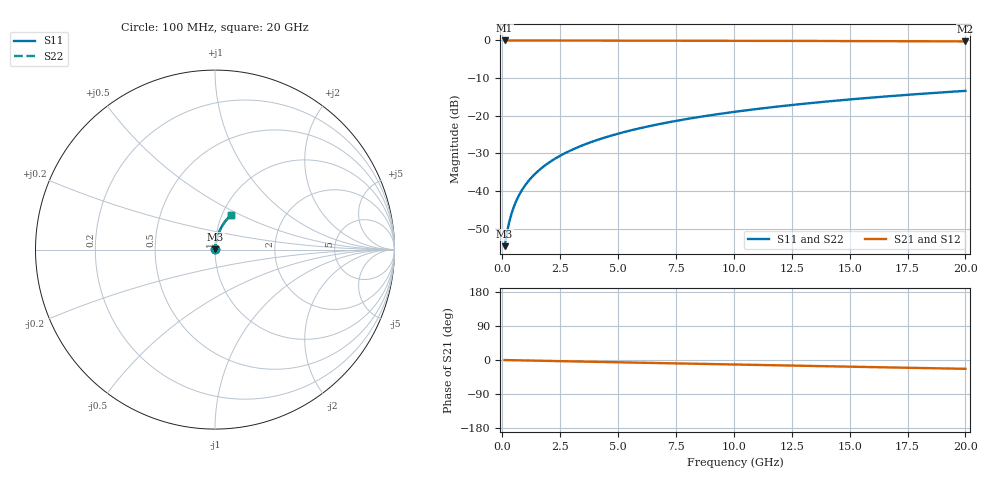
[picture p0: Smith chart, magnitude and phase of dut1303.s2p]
! Touchstone file exported from HFSS 2026.1.0
!  File:  C:/ffzhzh/LocalFiles/Ansys_Project_Files/temp_train_TMRDL_1303_1783164731_43440.aedt
!  Generated:  07:33:22 PM Jul  4, 2026
!  Design:  TMRDL
!  Project:  temp_train_TMRDL_1303_1783164731_43440
! Variables:
!  h_bsmrdl = 2um
!  h_ox = 20um
!  h_rdl = 5um
!  h_sub = 80um
!  h_tmrdl = 4.46um
!  h_tsv = 80um
!  h_via = 3um
!  l_bsmrdl = 300um
!  l_sub = 721.75um
!  l_tmrdl = 321.75um
!  m_sub = 200um
!  pitch = 45.76um
!  r_tsv = 6um
!  s_tmrdl = 10um
!  w_bsmrdl = 18um
!  w_sub = 500um
!  w_tmrdl = 22.1um
!  x_tsv_center1 = 332.8um
!  x_tsv_center2 = 650.8um
!  x_tsv_center3 = 994.65um
!  x_tsv_center4 = 1312.65um
!  x_tsv_center5 = 1656.5um
!  x_tsv_center6 = 1974.5um
# GHz S MA R 50.000000
! Terminal data exported
! Port[1] = TM_RDL1_1_T1
! Port[2] = TM_RDL1_1_T2
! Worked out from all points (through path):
!   200 points, 100 MHz to 20 GHz, reference 50 ohm
!   highest |S21| = -0.01 dB at 100 MHz (marker M1); lowest = -0.3 dB at 20 GHz (marker M2)
!   group delay of S21, straight-line fit = 3.23 ps
!   lowest |S11| = -54.6 dB at 100 MHz (marker M3), VSWR 1.00, Z = 50.1 + j0.129 ohm
!   |S11| at or under -10 dB: start of sweep to end of sweep
!   |S22| runs from -54.6 to -13.4 dB; largest |S21 - S12| = 3.6e-15
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0.1  0.001857 44.0  0.9987 -0.1  0.9987 -0.1  0.001857 44.0
! Gamma 0 0 0 0
! Port Impedance 50 0 50 0
0.2  0.002799 61.2  0.9986 -0.3  0.9986 -0.3  0.0028 61.1
0.3  0.003891 69.3  0.9985 -0.4  0.9985 -0.4  0.003891 69.2
0.4  0.005035 73.7  0.9984 -0.5  0.9984 -0.5  0.005033 73.6
0.5  0.006199 76.4  0.9984 -0.6  0.9984 -0.6  0.006196 76.3
0.6  0.007372 78.1  0.9984 -0.7  0.9984 -0.7  0.007369 78.1
0.8  0.009726 80.2  0.9983 -1.0  0.9983 -1.0  0.009722 80.2
1.1  0.01325 81.7  0.9982 -1.3  0.9982 -1.3  0.01325 81.7
1.3  0.01559 82.3  0.9981 -1.6  0.9981 -1.6  0.01559 82.3
1.5  0.01792 82.6  0.998 -1.8  0.998 -1.8  0.01792 82.6
1.8  0.0214 82.8  0.9979 -2.2  0.9979 -2.2  0.0214 82.8
2.1  0.02487 82.9  0.9977 -2.6  0.9977 -2.6  0.02487 82.9
2.7  0.03177 82.7  0.9973 -3.3  0.9973 -3.3  0.03177 82.7
3.5  0.0409 82.2  0.9967 -4.2  0.9967 -4.2  0.0409 82.2
4.2  0.04883 81.6  0.996 -5.1  0.996 -5.1  0.04883 81.6
5  0.05781 80.9  0.9952 -6.0  0.9952 -6.0  0.05781 80.9
6.8  0.07776 79.1  0.9932 -8.1  0.9932 -8.1  0.07776 79.1
8.3  0.09412 77.5  0.9913 -9.9  0.9913 -9.9  0.09412 77.5
10.1  0.1135 75.6  0.9888 -12.0  0.9888 -12.0  0.1135 75.6
13.4  0.1481 72.1  0.9835 -15.8  0.9835 -15.8  0.1481 72.1
16.7  0.1817 68.5  0.9773 -19.6  0.9773 -19.6  0.1817 68.5
20  0.2139 65.0  0.9703 -23.3  0.9703 -23.3  0.2139 65.0
